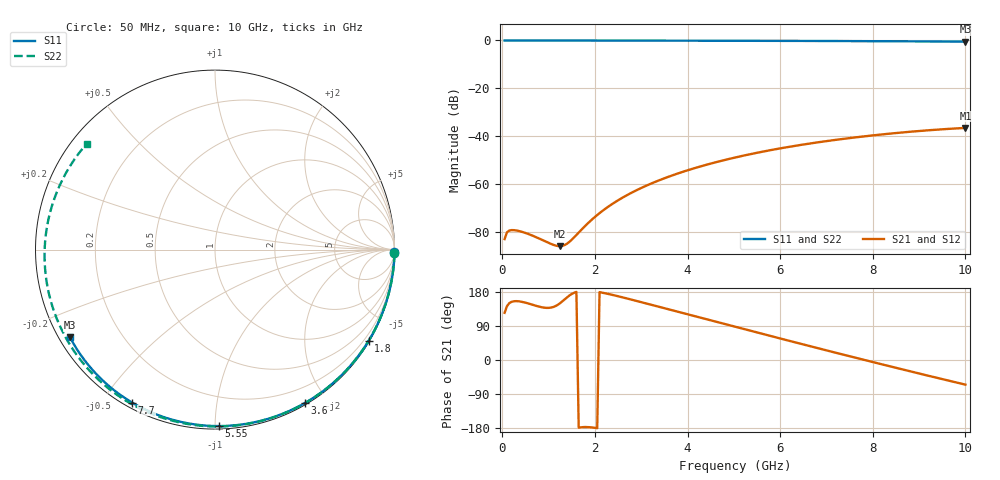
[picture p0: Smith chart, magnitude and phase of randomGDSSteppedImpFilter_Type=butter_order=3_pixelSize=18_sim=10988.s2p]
! freq	dB(S11)	phase(S11)	dB(S12)	phase(S12)
!  dB(S21)	phase(S21)	dB(S22)	phase(S22)
!S-par simulation data
#  GHz  S  DB  R 50
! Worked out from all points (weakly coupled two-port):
!   200 points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, 50 MHz to 10 GHz, reference 50 ohm
!   highest |S21| = -36.51 dB at 10 GHz (marker M1); lowest = -85.9 dB at 1.25 GHz (marker M2)
!   lowest |S11| = -0.5 dB at 10 GHz (marker M3), VSWR 34.79, Z = 1.55 - j14 ohm
!   |S11| at or under -10 dB: nowhere
!   |S22| runs from -0.7 to 0.0 dB; largest |S21 - S12| = 0
!   S11 on the Smith chart (normalised r, x): 50 MHz: open; 1.8 GHz: 0.03, -3.65; 3.6 GHz: 0.02, -1.74; 5.55 GHz: 0.02, -1.02; 7.7 GHz: 0.02, -0.60; 10 GHz: 0.03, -0.28
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0.05  -0.00 -0.9  -82.93 124.5  -82.93 124.5  -0.00 -1.2
0.2  -0.00 -3.4  -79.18 153.5  -79.18 153.5  -0.00 -4.7
0.45  -0.01 -7.8  -80.05 152.8  -80.05 152.8  -0.01 -10.5
1.25  -0.03 -21.4  -85.89 150.2  -85.89 150.2  -0.04 -29.0
1.65  -0.04 -28.1  -80.21 -178.7  -80.21 -178.7  -0.05 -38.0
1.75  -0.04 -29.8  -78.20 -177.1  -78.20 -177.1  -0.05 -40.3
1.8  -0.04 -30.6  -77.24 -176.9  -77.24 -176.9  -0.05 -41.4
2.15  -0.05 -36.4  -71.35 177.9  -71.35 177.9  -0.06 -49.2
2.5  -0.05 -42.2  -66.73 168.2  -66.73 168.2  -0.07 -56.9
2.9  -0.06 -48.6  -62.51 155.8  -62.51 155.8  -0.08 -65.5
3.4  -0.07 -56.6  -58.28 139.9  -58.28 139.9  -0.10 -76.2
3.6  -0.08 -59.7  -56.83 133.5  -56.83 133.5  -0.11 -80.4
4.3  -0.10 -70.5  -52.48 111.1  -52.48 111.1  -0.13 -94.8
5.05  -0.12 -81.6  -48.77 87.1  -48.77 87.1  -0.17 -110.0
5.55  -0.15 -88.9  -46.70 71.1  -46.70 71.1  -0.20 -120.0
6.7  -0.20 -105.0  -42.86 34.7  -42.86 34.7  -0.28 -143.2
7.7  -0.27 -118.5  -40.29 3.7  -40.29 3.7  -0.37 -164.0
8.35  -0.32 -127.1  -38.94 -16.1  -38.94 -16.1  -0.44 -178.3
8.8  -0.37 -133.0  -38.13 -29.6  -38.13 -29.6  -0.50 171.3
9.2  -0.41 -138.3  -37.50 -41.6  -37.50 -41.6  -0.55 161.6
9.6  -0.45 -143.5  -36.96 -53.4  -36.96 -53.4  -0.60 151.3
10  -0.50 -148.8  -36.51 -65.0  -36.51 -65.0  -0.66 140.5
